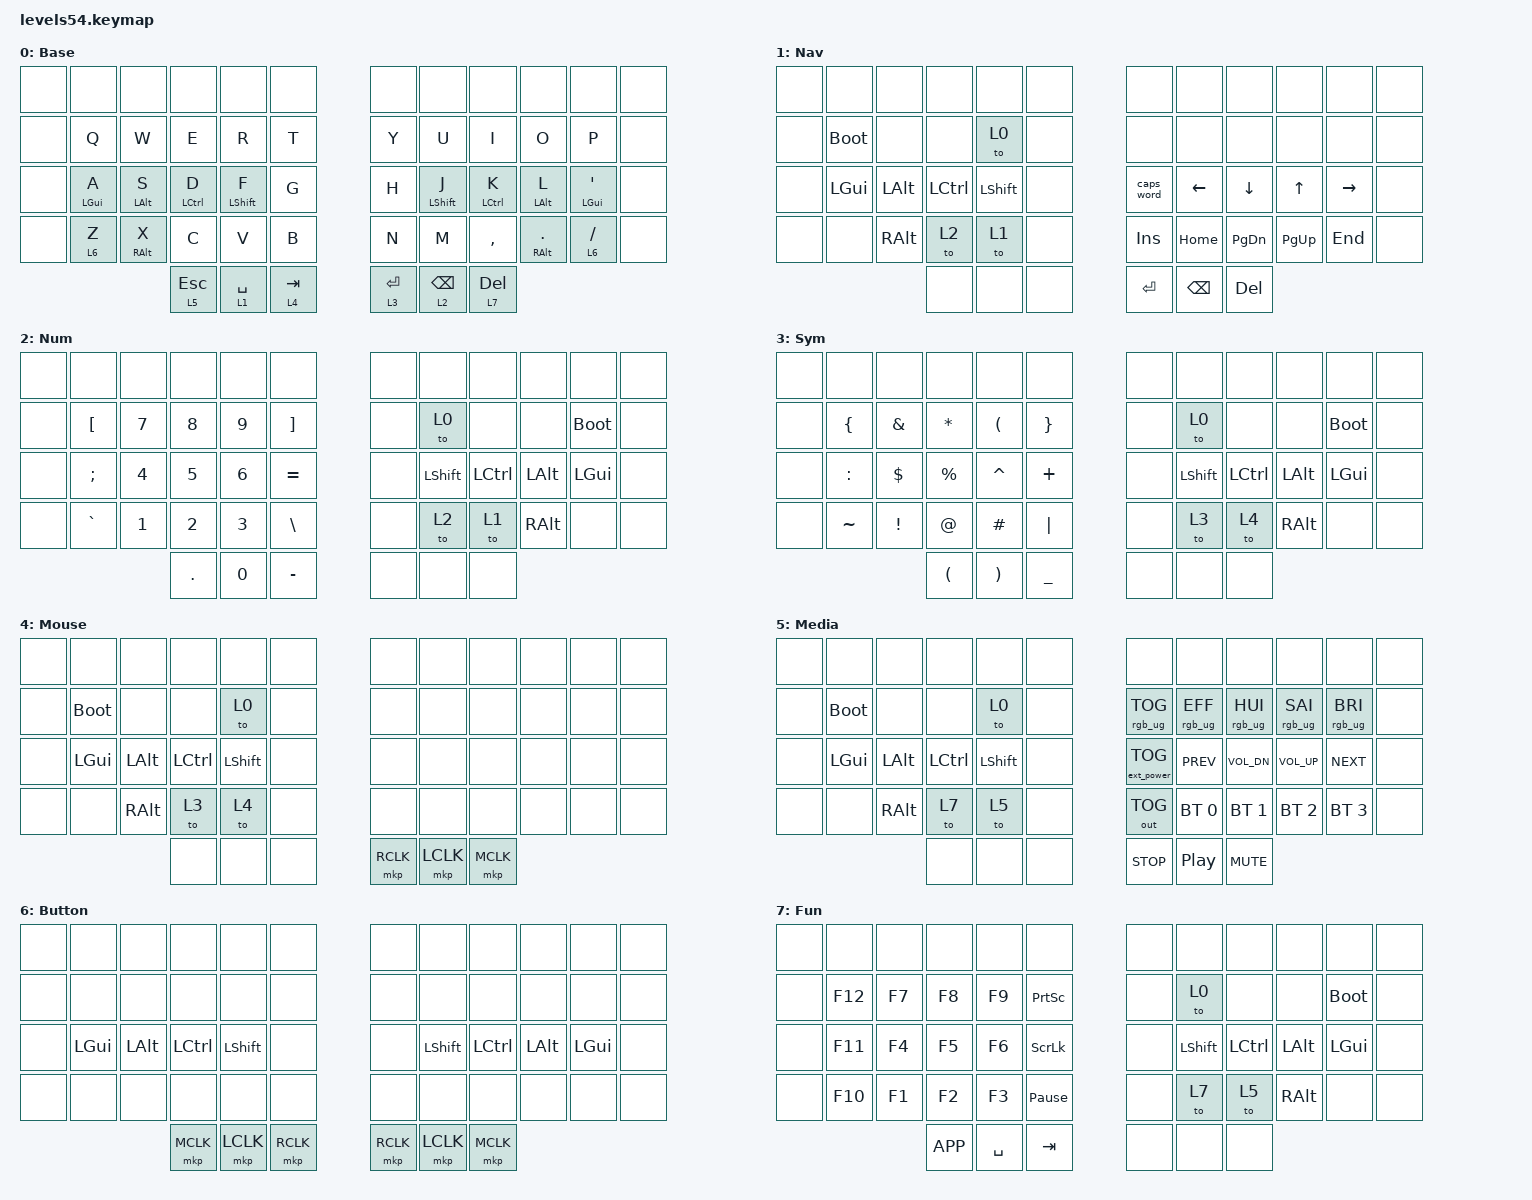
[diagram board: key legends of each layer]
#include <behaviors.dtsi>
#include <dt-bindings/zmk/bt.h>
#include <dt-bindings/zmk/keys.h>
#include <dt-bindings/zmk/pointing.h>
#include <dt-bindings/zmk/rgb.h>
#include <dt-bindings/zmk/ext_power.h>
#include <dt-bindings/zmk/outputs.h>

/ {
    keymap {
        compatible = "zmk,keymap";

        base_layer {
            display-name = "Base";
            bindings = <
&none        &none        &none        &none        &none        &none        &none        &none        &none        &none        &none        &none       
&none        &kp Q        &kp W        &kp E        &kp R        &kp T        &kp Y        &kp U        &kp I        &kp O        &kp P        &none       
&none        &mt LGUI A   &mt LALT S   &mt LCTRL D  &mt LSHFT F  &kp G        &kp H        &mt LSHFT J  &mt LCTRL K  &mt LALT L   &mt LGUI SQT &none       
&none        &lt 6 Z      &mt RALT X   &kp C        &kp V        &kp B        &kp N        &kp M        &kp COMMA    &mt RALT DOT &lt 6 SLASH  &none       
                                    &lt 5 ESC    &lt 1 SPACE  &lt 4 TAB    &lt 3 RET    &lt 2 BSPC   &lt 7 DEL   
            >;
        };

        nav_layer {
            display-name = "Nav";
            bindings = <
&none        &none        &none        &none        &none        &none        &none        &none        &none        &none        &none        &none       
&none        &bootloader  &none        &none        &to 0        &none        &none        &none        &none        &none        &none        &none       
&none        &kp LGUI     &kp LALT     &kp LCTRL    &kp LSHFT    &none        &caps_word   &kp LEFT     &kp DOWN     &kp UP       &kp RIGHT    &none       
&none        &none        &kp RALT     &to 2        &to 1        &none        &kp INS      &kp HOME     &kp PG_DN    &kp PG_UP    &kp END      &none       
                                    &none        &none        &none        &kp RET      &kp BSPC     &kp DEL     
            >;
        };

        num_layer {
            display-name = "Num";
            bindings = <
&none        &none        &none        &none        &none        &none        &none        &none        &none        &none        &none        &none       
&none        &kp LBKT     &kp N7       &kp N8       &kp N9       &kp RBKT     &none        &to 0        &none        &none        &bootloader  &none       
&none        &kp SEMI     &kp N4       &kp N5       &kp N6       &kp EQUAL    &none        &kp LSHFT    &kp LCTRL    &kp LALT     &kp LGUI     &none       
&none        &kp GRAVE    &kp N1       &kp N2       &kp N3       &kp BSLH     &none        &to 2        &to 1        &kp RALT     &none        &none       
                                    &kp DOT      &kp N0       &kp MINUS    &none        &none        &none       
            >;
        };

        sym_layer {
            display-name = "Sym";
            bindings = <
&none        &none        &none        &none        &none        &none        &none        &none        &none        &none        &none        &none       
&none        &kp LBRC     &kp AMPS     &kp ASTRK    &kp LPAR     &kp RBRC     &none        &to 0        &none        &none        &bootloader  &none       
&none        &kp COLON    &kp DLLR     &kp PRCNT    &kp CARET    &kp PLUS     &none        &kp LSHFT    &kp LCTRL    &kp LALT     &kp LGUI     &none       
&none        &kp TILDE    &kp EXCL     &kp AT       &kp HASH     &kp PIPE     &none        &to 3        &to 4        &kp RALT     &none        &none       
                                    &kp LPAR     &kp RPAR     &kp UNDER    &none        &none        &none       
            >;
        };

        mouse_layer {
            display-name = "Mouse";
            bindings = <
&none        &none        &none        &none        &none        &none        &none        &none        &none        &none        &none        &none       
&none        &bootloader  &none        &none        &to 0        &none        &none        &none        &none        &none        &none        &none       
&none        &kp LGUI     &kp LALT     &kp LCTRL    &kp LSHFT    &none        &none        &none        &none        &none        &none        &none       
&none        &none        &kp RALT     &to 3        &to 4        &none        &none        &none        &none        &none        &none        &none       
                                    &none        &none        &none        &mkp RCLK    &mkp LCLK    &mkp MCLK   
            >;
        };

        media_layer {
            display-name = "Media";
            bindings = <
&none        &none        &none        &none        &none        &none        &none        &none        &none        &none        &none        &none       
&none        &bootloader  &none        &none        &to 0        &none        &rgb_ug RGB_TOG &rgb_ug RGB_EFF &rgb_ug RGB_HUI &rgb_ug RGB_SAI &rgb_ug RGB_BRI &none       
&none        &kp LGUI     &kp LALT     &kp LCTRL    &kp LSHFT    &none        &ext_power EP_TOG &kp C_PREV   &kp C_VOL_DN &kp C_VOL_UP &kp C_NEXT   &none       
&none        &none        &kp RALT     &to 7        &to 5        &none        &out OUT_TOG &bt BT_SEL 0 &bt BT_SEL 1 &bt BT_SEL 2 &bt BT_SEL 3 &none       
                                    &none        &none        &none        &kp C_STOP   &kp C_PP     &kp C_MUTE  
            >;
        };

        button_layer {
            display-name = "Button";
            bindings = <
&none        &none        &none        &none        &none        &none        &none        &none        &none        &none        &none        &none       
&none        &none        &none        &none        &none        &none        &none        &none        &none        &none        &none        &none       
&none        &kp LGUI     &kp LALT     &kp LCTRL    &kp LSHFT    &none        &none        &kp LSHFT    &kp LCTRL    &kp LALT     &kp LGUI     &none       
&none        &none        &none        &none        &none        &none        &none        &none        &none        &none        &none        &none       
                                    &mkp MCLK    &mkp LCLK    &mkp RCLK    &mkp RCLK    &mkp LCLK    &mkp MCLK   
            >;
        };

        fun_layer {
            display-name = "Fun";
            bindings = <
&none        &none        &none        &none        &none        &none        &none        &none        &none        &none        &none        &none       
&none        &kp F12      &kp F7       &kp F8       &kp F9       &kp PSCRN    &none        &to 0        &none        &none        &bootloader  &none       
&none        &kp F11      &kp F4       &kp F5       &kp F6       &kp SLCK     &none        &kp LSHFT    &kp LCTRL    &kp LALT     &kp LGUI     &none       
&none        &kp F10      &kp F1       &kp F2       &kp F3       &kp PAUSE_BREAK &none        &to 7        &to 5        &kp RALT     &none        &none       
                                    &kp K_APP    &kp SPACE    &kp TAB      &none        &none        &none       
            >;
        };
    };
};
